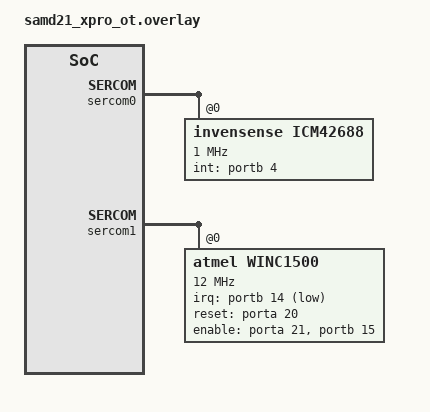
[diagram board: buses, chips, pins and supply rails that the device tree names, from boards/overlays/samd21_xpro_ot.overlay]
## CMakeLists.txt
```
cmake_minimum_required(VERSION 3.20.0)

# ------------------------------------------------------------
# Board-specific DTS overlays (MUST be set before Zephyr)
# ------------------------------------------------------------
if(DEFINED BOARD)
  if(BOARD STREQUAL "same54_xpro")
    list(APPEND DTC_OVERLAY_FILE
      ${CMAKE_CURRENT_SOURCE_DIR}/boards/overlays/same54_xpro.overlay
    )
  elseif(BOARD STREQUAL "samd21_iot_wg")
    list(APPEND DTC_OVERLAY_FILE
      ${CMAKE_CURRENT_SOURCE_DIR}/boards/overlays/samd21_iot_wg.overlay
    )
  elseif(BOARD STREQUAL "samd21_iot_wg2")
    list(APPEND DTC_OVERLAY_FILE
      ${CMAKE_CURRENT_SOURCE_DIR}/boards/overlays/samd21_iot_wg2.overlay
    )
    elseif(BOARD STREQUAL "samd21_xpro_ot")
    list(APPEND DTC_OVERLAY_FILE
      ${CMAKE_CURRENT_SOURCE_DIR}/boards/overlays/samd21_xpro_ot.overlay
    )
  elseif(BOARD STREQUAL "feather_m4_zephyr_ot")
    list(APPEND DTC_OVERLAY_FILE
      ${CMAKE_CURRENT_SOURCE_DIR}/boards/overlays/feather_m4_zephyr_ot.overlay
    )
  endif()

endif()

list(APPEND ZEPHYR_EXTRA_MODULES
  ${CMAKE_CURRENT_LIST_DIR}/modules/ws2812_common
)

find_package(Zephyr REQUIRED HINTS $ENV{ZEPHYR_BASE})

project(mchp_6dof_imu)

target_include_directories(app PRIVATE ${CMAKE_CURRENT_LIST_DIR}/include)

target_sources(app PRIVATE
    src/main.c
    src/bubble_level.c
    src/imu_chart.c 
    src/imu_text.c
    src/img_util.c
)

target_link_libraries(app PRIVATE ws2812_common)
```

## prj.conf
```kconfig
# Enable console output
CONFIG_PRINTK=y
CONFIG_NEWLIB_LIBC=y
CONFIG_CBPRINTF_FP_SUPPORT=y

# Configure SPI
CONFIG_GPIO=y
CONFIG_SPI=y

# Sensor subsystem
CONFIG_SENSOR=y

# ICM42688 driver
CONFIG_ICM4268X=y
CONFIG_ICM4268X_DECODER=y
CONFIG_ICM4268X_TRIGGER_GLOBAL_THREAD=y

CONFIG_LOG=y
CONFIG_SENSOR_LOG_LEVEL_DBG=y
CONFIG_PINCTRL_LOG_LEVEL_DBG=y 

CONFIG_INPUT=y
CONFIG_GPIO_SAM0=y

CONFIG_MAIN_STACK_SIZE=8192
CONFIG_SYSTEM_WORKQUEUE_STACK_SIZE=4096

CONFIG_DISPLAY=y
CONFIG_DISPLAY_LOG_LEVEL_ERR=y

CONFIG_LVGL=y
CONFIG_LV_Z_MEM_POOL_SIZE=40000
CONFIG_LV_Z_VDB_SIZE=10

# Display needs data in BGR format, with endianess swapped for SPI
CONFIG_LV_COLOR_DEPTH_16=y
CONFIG_LV_COLOR_16_SWAP=y

CONFIG_SYS_CLOCK_EXISTS=y
CONFIG_LV_CONF_MINIMAL=y
CONFIG_LV_USE_LABEL=y
CONFIG_LV_USE_BUTTON=y
CONFIG_LV_USE_CHART=y
CONFIG_LV_USE_IMAGE=y
CONFIG_LV_USE_THEME_DEFAULT=y
CONFIG_LV_FONT_MONTSERRAT_28=y
CONFIG_TICKLESS_KERNEL=n
CONFIG_LV_USE_ARC=n
CONFIG_LV_USE_BAR=n
CONFIG_LV_USE_DROPDOWN=n
CONFIG_LV_USE_SLIDER=n
CONFIG_LV_USE_TEXTAREA=n
CONFIG_LV_USE_CANVAS=n
CONFIG_LV_USE_THEME_MONO=n
```

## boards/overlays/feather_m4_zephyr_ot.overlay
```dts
#include <zephyr/dt-bindings/sensor/icm42688.h>

/ {
    aliases {
        imusensor = &icm42688;
    };
};

&sercom1{
    /* Handle multiple CS on same SPI */
    cs-gpios = <&porta 21 GPIO_ACTIVE_LOW>,
				<&porta 5 GPIO_ACTIVE_LOW>,
                <&porta 6 GPIO_ACTIVE_LOW>;

    /* ICM42688 IMU node */
    icm42688: icm42688@0 {
        status = "okay";
        compatible = "invensense,icm42688", "invensense,icm4268x";
        reg = <2>;
        spi-max-frequency = <1000000>;

        /* Interrupt line */
        int-gpios = <&porta 4 GPIO_ACTIVE_HIGH>;

        accel-fs = <ICM42688_DT_ACCEL_FS_2>;
        accel-odr = <ICM42688_DT_ACCEL_ODR_100>;

        gyro-fs = <ICM42688_DT_GYRO_FS_2000>;
        gyro-odr = <ICM42688_DT_GYRO_ODR_100>;

        // turn on low noise mode for gyro and accel
        accel-pwr-mode = <ICM42688_DT_ACCEL_LN>;
        gyro-pwr-mode = <ICM42688_DT_GYRO_LN>;
    };
};
```

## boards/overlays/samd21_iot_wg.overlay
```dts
#include <zephyr/dt-bindings/sensor/icm42688.h>

/{
    aliases {
        imusensor = &icm42688;
        spi0 = &sercom0; 
    };
};

&porta {
    status = "okay";
};

&sercom0 {
    status = "okay";

    /* Use SPI SS pin as GPIO CS */
    cs-gpios = <&porta 6 GPIO_ACTIVE_LOW>;

    /* ICM42688 IMU node */
    icm42688: icm42688@0 {
        status = "okay";
        compatible = "invensense,icm42688", "invensense,icm4268x";
        reg = <0>;
        spi-max-frequency = <1000000>;

        /*  Interrupt line 
            PA9: EXTINT9 - DO NOT use PA24/PA25 on SAMD21 
            this requires hw patch on the mikroe click by shorting
            INT pin2 to adjacent NC pin3 */
        int-gpios = <&porta 9 GPIO_ACTIVE_HIGH>;

        accel-fs = <ICM42688_DT_ACCEL_FS_2>;
        accel-odr = <ICM42688_DT_ACCEL_ODR_100>;

        gyro-fs = <ICM42688_DT_GYRO_FS_2000>;
        gyro-odr = <ICM42688_DT_GYRO_ODR_100>;

        // turn on low noise mode for gyro and accel
        accel-pwr-mode = <ICM42688_DT_ACCEL_LN>;
        gyro-pwr-mode = <ICM42688_DT_GYRO_LN>;
    };
};
```

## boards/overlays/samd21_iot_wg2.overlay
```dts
#include <zephyr/dt-bindings/sensor/icm42688.h>

/{
    aliases {
        imusensor = &icm42688;
        spi0 = &sercom0; 
    };
};

&porta {
    status = "okay";
};

&sercom0 {
    status = "okay";

    /* Use SPI SS pin as GPIO CS */
    cs-gpios = <&porta 6 GPIO_ACTIVE_LOW>;

    /* ICM42688 IMU node */
    icm42688: icm42688@0 {
        status = "okay";
        compatible = "invensense,icm42688", "invensense,icm4268x";
        reg = <0>;
        spi-max-frequency = <1000000>;

        /*  Interrupt line */
        int-gpios = <&portb 22 GPIO_ACTIVE_HIGH>;

        accel-fs = <ICM42688_DT_ACCEL_FS_2>;
        accel-odr = <ICM42688_DT_ACCEL_ODR_100>;

        gyro-fs = <ICM42688_DT_GYRO_FS_2000>;
        gyro-odr = <ICM42688_DT_GYRO_ODR_100>;

        // turn on low noise mode for gyro and accel
        accel-pwr-mode = <ICM42688_DT_ACCEL_LN>;
        gyro-pwr-mode = <ICM42688_DT_GYRO_LN>;
    };
};
```

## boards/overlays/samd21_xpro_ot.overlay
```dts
#include <zephyr/dt-bindings/sensor/icm42688.h>

/{
    aliases {
        imusensor = &icm42688;
        spi0 = &sercom0; 
    };
};

&sercom0 {
    status = "okay";
    
    /* Use SPI SS pin as GPIO CS */
    cs-gpios = <&porta 5 GPIO_ACTIVE_LOW>;

    /* ICM42688 IMU node */
    icm42688: icm42688@0 {
        status = "okay";
        compatible = "invensense,icm42688", "invensense,icm4268x";
        reg = <0>;
        spi-max-frequency = <1000000>;

        /* Interrupt line */
        int-gpios = <&portb 4 GPIO_ACTIVE_HIGH>;

        accel-fs = <ICM42688_DT_ACCEL_FS_2>;
        accel-odr = <ICM42688_DT_ACCEL_ODR_100>;

        gyro-fs = <ICM42688_DT_GYRO_FS_2000>;
        gyro-odr = <ICM42688_DT_GYRO_ODR_100>;

        // turn on low noise mode for gyro and accel
        accel-pwr-mode = <ICM42688_DT_ACCEL_LN>;
        gyro-pwr-mode = <ICM42688_DT_GYRO_LN>;
    };
};

&sercom1 {
    status = "okay";

    /* Use SPI SS pin as GPIO CS */
    cs-gpios = <&porta 17 GPIO_ACTIVE_LOW>;

    /* winc1500 node */
    winc1500: winc1500@0 {
        compatible = "atmel,winc1500";
        status = "okay";

        reg = <0>;
        spi-max-frequency = <12000000>;
        irq-gpios = <&portb 14 GPIO_ACTIVE_LOW>;
        reset-gpios = <&porta 20 GPIO_ACTIVE_HIGH>;
        enable-gpios = <&porta 21 GPIO_ACTIVE_HIGH>,
                        <&portb 15 GPIO_ACTIVE_HIGH>;
    };
};
```

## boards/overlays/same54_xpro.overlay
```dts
#include <zephyr/dt-bindings/display/panel.h>
#include <zephyr/dt-bindings/sensor/icm42688.h>

/{
    aliases {
        imusensor = &icm42688;
        spi4 = &sercom4;
        spi6 = &sercom6;
    };

    chosen {
        zephyr,display = &gc9x01x_lcd;
    };   
};

&pinctrl {
	sercom6_spi_default: sercom6_spi_default {
		group1 {
			pinmux = <PC5C_SERCOM6_PAD1>,
                    <PC4C_SERCOM6_PAD0>,
	                <PC7C_SERCOM6_PAD3>;
		};
	};
};

/*************************************************************
                Mikroe socket connections for 
                Adafruit EyeSPI display

       1  NC                    16  BACKLIGHT   PB08
       2  TFT_RST   PA06        15  TFT_DC      PB07
       3  TFT_CS    PB28        14  CARD_CS     PA05
       4  SCK       PB26        13  NC
       5  MISO      PB29        12  NC
       6  MOSI      PB27        11  NC
       7  +3V3                  10  +5V  
       8  GND                   9   GND

 *************************************************************/

/* This assumes that the display will be mounted in the XPro socket EXT1 and using sercom4 */
&sercom4 {
    status = "okay";

    /* Use SPI SS pin as GPIO CS */
    cs-gpios = <&portb 28 GPIO_ACTIVE_LOW>;

    /* ICM42688 IMU node */
    icm42688: icm42688@0 {
        status = "okay";
        compatible = "invensense,icm42688", "invensense,icm4268x";
        reg = <0>;
        spi-max-frequency = <1000000>;

        /* Interrupt line */
        int-gpios = <&portb 7 GPIO_ACTIVE_HIGH>;

        accel-fs = <ICM42688_DT_ACCEL_FS_2>;
        accel-odr = <ICM42688_DT_ACCEL_ODR_100>;

        gyro-fs = <ICM42688_DT_GYRO_FS_2000>;
        gyro-odr = <ICM42688_DT_GYRO_ODR_100>;

        // turn on low noise mode for gyro and accel
        accel-pwr-mode = <ICM42688_DT_ACCEL_LN>;
        gyro-pwr-mode = <ICM42688_DT_GYRO_LN>;
    };

};

&sercom6 {
    status = "okay";
    compatible = "atmel,sam0-spi";
    dipo = <3>;
    dopo = <0>;

    #address-cells = <1>;
    #size-cells = <0>;

    pinctrl-0 = <&sercom6_spi_default>;
	pinctrl-names = "default";

    /* Use SPI SS pin as GPIO CS */
    cs-gpios = <&portc 6 GPIO_ACTIVE_LOW>;

    my_mipi_dbi {
        compatible = "zephyr,mipi-dbi-spi";
        status = "okay";
        #address-cells = <1>;
        #size-cells = <0>;
        spi-dev = <&sercom6>;
        dc-gpios = <&portd 0 GPIO_ACTIVE_HIGH>;
        reset-gpios = <&portb 1 GPIO_ACTIVE_LOW>;

        gc9x01x_lcd: gc9x01x_lcd@0 {
            compatible = "galaxycore,gc9x01x";
            reg = <0>;
            mipi-max-frequency = <20000000>;
            pixel-format = <PANEL_PIXEL_FORMAT_RGB_565>;
            width = <240>;
            height = <240>;
            display-inversion;
        };
    };
};
```

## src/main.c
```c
#include <zephyr/kernel.h>
#include <zephyr/sys/printk.h>
#include <zephyr/drivers/gpio.h>
#include <zephyr/input/input.h>
#include <zephyr/device.h>
#include <zephyr/drivers/sensor.h>
#include <soc.h>
#include <stdio.h>
#include <stdlib.h>

#define SV_FMT "%d.%06d"
#define SV_ARG(x) (x).val1, abs((x).val2)

#define SLEEP_TIME_MS 1000

static struct sensor_trigger imu_trigger;
static volatile int irq_from_sensor = 0;

static const struct gpio_dt_spec led = GPIO_DT_SPEC_GET(DT_ALIAS(led0), gpios);
//static const struct gpio_dt_spec led1 = GPIO_DT_SPEC_GET(DT_ALIAS(led1), gpios);

static const struct gpio_dt_spec switch0 = GPIO_DT_SPEC_GET(DT_ALIAS(sw0), gpios);
static const struct gpio_dt_spec switch1 = GPIO_DT_SPEC_GET_OR(DT_ALIAS(sw1), gpios, {0});

static const struct device *imu = DEVICE_DT_GET(DT_ALIAS(imusensor));

static void handle_imu_trigger(const struct device *dev, const struct sensor_trigger *trig)
{
    if (trig->type == SENSOR_TRIG_DATA_READY) {
        int rc = sensor_sample_fetch_chan(dev, trig->chan);

        if (rc < 0) {
            printk("Failed to fetch sensor data: %d\n", rc);
            return;     
        } else if (rc == 0) {
            irq_from_sensor = 1;
        }
    }   
}

static void button_input_cb(struct input_event *evt, void *user_data)
{
    if (evt->sync == 0) {
        return;
    }

    printk("Button %d %s\n", evt->code, evt->value ? "pressed" : "released");
}

INPUT_CALLBACK_DEFINE(NULL, button_input_cb, NULL);

int main(void)
{
    int ret;
    struct sensor_value accel[3];
    struct sensor_value gyro[3];
    struct sensor_value temperature;

    printk("Application started\n");

    if (!gpio_is_ready_dt(&led)) {
        return 0;
    }

    ret = gpio_pin_configure_dt(&led, GPIO_OUTPUT_ACTIVE);
    if (ret < 0) {
        return 0;
    }

    // enable button interrupts
    if (device_is_ready(switch0.port)) {
        gpio_pin_interrupt_configure_dt(&switch0, GPIO_INPUT);  
    }
 
    if (device_is_ready(switch1.port)) {
        gpio_pin_interrupt_configure_dt(&switch1, GPIO_INPUT);  
    }   
 
    // configure the imu
    if (imu == NULL) {
        printk("IMU device not found\n");
        return 0;
    }
	printf("Device %p name is %s\n", imu, imu->name);

    if (device_is_ready(imu)) {
        printk("IMU device is ready\n");
    } else {
        printk("IMU device is not ready\n");
    }

    // configure interrupts from the IMU
    imu_trigger = (struct sensor_trigger){
        .type = SENSOR_TRIG_DATA_READY,
        .chan = SENSOR_CHAN_ALL,
    };
    ret = sensor_trigger_set(imu, &imu_trigger, handle_imu_trigger);
    if (ret == 0) {
        printk("IMU trigger set successfully\n");
    } else {
        printk("Failed to set IMU trigger (%d)\n", ret);
    }

    while (1) {
        if (irq_from_sensor) {
            sensor_channel_get(imu, SENSOR_CHAN_ACCEL_XYZ, accel);
            sensor_channel_get(imu, SENSOR_CHAN_GYRO_XYZ, gyro);
            sensor_channel_get(imu, SENSOR_CHAN_DIE_TEMP, &temperature);

            printf("temp " SV_FMT " C  "
                "accel " SV_FMT " " SV_FMT " " SV_FMT " m/s^2  "
                "gyro  " SV_FMT " " SV_FMT " " SV_FMT " rad/s\n",
                SV_ARG(temperature),
                SV_ARG(accel[0]), SV_ARG(accel[1]), SV_ARG(accel[2]),
                SV_ARG(gyro[0]),  SV_ARG(gyro[1]),  SV_ARG(gyro[2]));          
            irq_from_sensor = 0;
        }

        ret = gpio_pin_toggle_dt(&led);
        if (ret < 0) {
            return 0;   
        }

        k_msleep(SLEEP_TIME_MS);
    }

    return 0;
}
```

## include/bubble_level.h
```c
/**
 * @file bubble_level.h
 *
 * Simple bubble-level visualization using LVGL.
 *
 * This module provides a small UI widget that simulates a physical bubble
 * level using accelerometer data. It can be updated continuously from IMU
 * readings to reflect device orientation.
 */
#ifndef BUBBLE_LEVEL_H
#define BUBBLE_LEVEL_H

#include <zephyr/drivers/sensor.h>
#include <lvgl.h>
#include <stdint.h>

/**
 * Initialize the bubble level UI.
 *
 * This must be called once before calling update_bubble_physics(). The
 * returned object is the same parent passed in and allows chaining configuration
 * in the caller.
 *
 * @param parent The LVGL parent object to contain the bubble level widget.
 * @return The same parent object passed in.
 */
lv_obj_t* bubble_level_init(lv_obj_t *parent);

/**
 * Update the bubble level simulation using new accelerometer samples.
 *
 * Only the integer component (val1) of each sensor_value is used.
 *
 * @param ax_sv X-axis accelerometer sample.
 * @param ay_sv Y-axis accelerometer sample.
 * @param az_sv Z-axis accelerometer sample.
 */
void update_bubble_physics(struct sensor_value *ax_sv,
                           struct sensor_value *ay_sv,
                           struct sensor_value *az_sv);

#endif /* BUBBLE_LEVEL_H */
```

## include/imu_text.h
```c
/**
 * @file imu_text.h
 *
 * Helper APIs for IMU acceleration text display using LVGL.
 * This module creates a simple text-based display for showing real-time
 * accelerometer values (AX/AY/AZ).
 */
#ifndef IMU_TEXT_H
#define IMU_TEXT_H

#include <zephyr/drivers/sensor.h>
#include <lvgl.h>
#include <stdint.h>

/**
 * Initialize the IMU Text.
 *
 * This must be called once before calling update_imu_text(). The returned
 * object is the same parent that was passed in, which allows chaining in the
 * caller if desired.
 *
 * @param parent The LVGL object to contain the text.
 * @return The same parent object passed in.
 */
lv_obj_t* imu_text_init(lv_obj_t *parent);

/**
 * Push new IMU samples into the text.
 *
 * This should be called whenever a new accelerometer sample is available.
 *
 * @param ax_sv Pointer to X-axis accelerometer value.
 * @param ay_sv Pointer to Y-axis accelerometer value.
 * @param az_sv Pointer to Z-axis accelerometer value.
 */
void update_imu_text(struct sensor_value *ax_sv,
                      struct sensor_value *ay_sv,
                      struct sensor_value *az_sv);

#endif /* IMU_TEXT_H */
```

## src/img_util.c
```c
#include <zephyr/kernel.h>
#include <zephyr/device.h>
#include <zephyr/drivers/display.h>
#include <ff.h>
#include <string.h>

#define LINE_BUF_MAX 240  // adjust to your max width

static __aligned(4) uint16_t line_buf[LINE_BUF_MAX];

int display_bin_image(const struct device *display,
                      const char *path,
                      int x0, int y0)
{
    FIL file;
    UINT br;

    uint16_t width, height;

    /* Open file */
    if (f_open(&file, path, FA_READ) != FR_OK) {
        printk("Failed to open %s\n", path);
        return -1;
    }

    /* Read header */
    f_read(&file, &width, 2, &br);
    f_read(&file, &height, 2, &br);

    if (width > LINE_BUF_MAX) {
        printk("Width too large\n");
        f_close(&file);
        return -1;
    }

    struct display_buffer_descriptor desc = {
        .width = width,
        .height = 1,
        .pitch = width,
        .buf_size = width * 2,
    };

    /* Stream each row */
    for (int y = 0; y < height; y++) {

        f_read(&file, line_buf, width * 2, &br);
        if (br != width * 2) {
            printk("Read error at line %d\n", y);
            break;
        }

        /* Write one line to display */
        display_write(display,
                      x0,
                      y0 + y,
                      &desc,
                      line_buf);
    }

    f_close(&file);

    return 0;
}
```

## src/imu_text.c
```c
/*
 * IMU text display module.
 *
 * This module provides a simple LVGL-based UI for displaying real-time
 * accelerometer values (AX/AY/AZ) as large text labels. It creates a
 * bordered container with three colored labels and separator lines.
 */
#include <stdlib.h>
#include <stdio.h>
#include <zephyr/kernel.h>
#include <zephyr/sys/printk.h>
#include <zephyr/drivers/sensor.h>
#include <lvgl.h>
#include <math.h>
#include "imu_text.h"

#define LABEL_X_OFFSET 10  /* Horizontal offset for labels from left edge */

static lv_obj_t *screen_text;
static lv_obj_t *container;

static lv_obj_t *label_ax_big;
static lv_obj_t *label_ay_big;
static lv_obj_t *label_az_big;

lv_obj_t* imu_text_init(lv_obj_t *parent)
{
    /* Create the main container for the text display */
    screen_text = lv_obj_create(parent);
    lv_obj_set_style_bg_color(screen_text, lv_color_black(), 0);
    lv_obj_set_size(screen_text, 180, 180);
    lv_obj_center(screen_text);

    /* Inner container with border and rounded corners */
    container = lv_obj_create(screen_text);
    lv_obj_set_size(container, 180, 180);
    lv_obj_center(container);

    lv_obj_set_style_bg_color(container, lv_color_black(), 0);
    lv_obj_set_style_border_color(container, lv_color_hex(0x444444), 0);
    lv_obj_set_style_border_width(container, 2, 0);
    lv_obj_set_style_radius(container, 10, 0);

    /* Create AX label (red, top) */
    label_ax_big = lv_label_create(container);
    lv_obj_set_style_text_color(label_ax_big, lv_palette_main(LV_PALETTE_RED), 0);
    lv_obj_set_style_text_font(label_ax_big, &lv_font_montserrat_28, 0);
    lv_obj_align(label_ax_big, LV_ALIGN_TOP_LEFT, LABEL_X_OFFSET, 4);

    /* Create AY label (green, middle) */
    label_ay_big = lv_label_create(container);
    lv_obj_set_style_text_color(label_ay_big, lv_palette_main(LV_PALETTE_GREEN), 0);
    lv_obj_set_style_text_font(label_ay_big, &lv_font_montserrat_28, 0);
    lv_obj_align(label_ay_big, LV_ALIGN_LEFT_MID, LABEL_X_OFFSET, 0);

    /* Create AZ label (blue, bottom) */
    label_az_big = lv_label_create(container);
    lv_obj_set_style_text_color(label_az_big, lv_palette_main(LV_PALETTE_BLUE), 0);
    lv_obj_set_style_text_font(label_az_big, &lv_font_montserrat_28, 0);
    lv_obj_align(label_az_big, LV_ALIGN_BOTTOM_LEFT, LABEL_X_OFFSET, -4);

    /* Add horizontal separator lines between labels */
    lv_obj_t *line1 = lv_obj_create(container);
    lv_obj_set_size(line1, 160, 1);
    lv_obj_align(line1, LV_ALIGN_CENTER, 0, -30);
    lv_obj_set_style_bg_color(line1, lv_color_hex(0x444444), 0);
    lv_obj_clear_flag(line1, LV_OBJ_FLAG_SCROLLABLE);

    lv_obj_t *line2 = lv_obj_create(container);
    lv_obj_set_size(line2, 160, 1);
    lv_obj_align(line2, LV_ALIGN_CENTER, 0, 30);
    lv_obj_set_style_bg_color(line2, lv_color_hex(0x444444), 0);
    lv_obj_clear_flag(line2, LV_OBJ_FLAG_SCROLLABLE);

    return parent;
}

void update_imu_text(struct sensor_value *ax_sv,
                     struct sensor_value *ay_sv,
                     struct sensor_value *az_sv)
{
    /* Convert sensor values to double for display */
    double ax = sensor_value_to_double(ax_sv);
    double ay = sensor_value_to_double(ay_sv);
    double az = sensor_value_to_double(az_sv);

    /* Update each label with formatted text */
    lv_label_set_text_fmt(label_ax_big, "AX: %6.2f", ax);
    lv_label_set_text_fmt(label_ay_big, "AY: %6.2f", ay);
    lv_label_set_text_fmt(label_az_big, "AZ: %6.2f", az);
}
```
